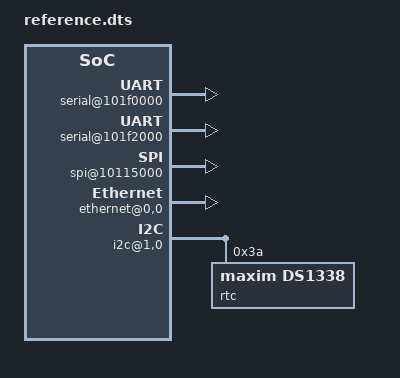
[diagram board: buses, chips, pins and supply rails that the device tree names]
/dts-v1/;

/ {
	compatible = "acme,coyotes-revenge";
	#address-cells = <1>;
	#size-cells = <1>;
	interrupt-parent = <&intc>;

	cpus {
		#address-cells = <1>;
		#size-cells = <0>;
		cpu@0 {
			compatible = "arm,cortex-a9";
			reg = <0>;
		};
		cpu@1 {
			compatible = "arm,cortex-a9";
			reg = <1>;
		};
	};

	serial@101f0000 {
		compatible = "arm,pl011";
		reg = <0x101f0000 0x1000>;
		interrupts = <1 0>;
	};

	serial@101f2000 {
		compatible = "arm,pl011";
		reg = <0x101f2000 0x1000>;
		interrupts = <2 0>;
	};

	gpio@101f3000 {
		compatible = "arm,pl061";
		reg = <0x101f3000 0x1000
		       0x101f4000 0x0010>;
		interrupts = <3 0>;
	};

	intc: interrupt-controller@10140000 {
		compatible = "arm,pl190";
		reg = <0x10140000 0x1000>;
		interrupt-controller;
		#interrupt-cells = <2>;
	};

	spi@10115000 {
		compatible = "arm,pl022";
		reg = <0x10115000 0x1000>;
		interrupts = <4 0>;
	};

	external-bus@10100000 {
		#address-cells = <2>;
		#size-cells = <1>;
		ranges = <0 0 0x10100000 0x10000	//Chipselect 1, Ethernet
			  1 0 0x10160000 0x10000	//Chipselect 2, i2c controller
			  2 0 0x30000000 0x1000000>;	//Chipselect 3, NOR Flash

		ethernet@0,0 {
			compatible = "smc,smc91c111";
			reg = <0 0 0x1000>;
			interrupts = <5 2>;
		};

		i2c@1,0 {
			compatible = "acme,a1234-i2c-bus";
			#address-cells = <1>;
			#size-cells = <0>;
			reg = <1 0 0x1000>;
			interrupts = <6 2>;
			rtc@58 {
				compatible = "maxim,ds1338";
				reg = <58>;
				interrupts = <7 3>;
			};
		};

		flash@2,0 {
			compatible = "samsung,k8f1315ebm", "cfi-flash";
			reg = <2 0 0x4000000>;
		};
	};
};
